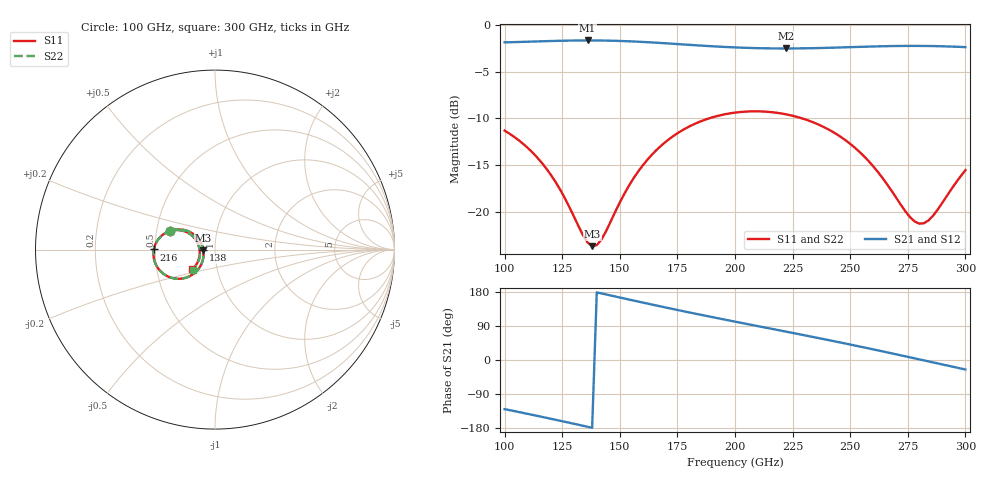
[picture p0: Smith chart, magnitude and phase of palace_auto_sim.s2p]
#  GHZ S DB R 50
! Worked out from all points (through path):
!   101 points, 100 GHz to 300 GHz, reference 50 ohm
!   highest |S21| = -1.66 dB at 136 GHz (marker M1); lowest = -2.5 dB at 222 GHz (marker M2)
!   group delay of S21, straight-line fit = 3.51 ps
!   lowest |S11| = -23.7 dB at 138 GHz (marker M3), VSWR 1.14, Z = 43.9 - j0.344 ohm
!   |S11| at or under -10 dB: start of sweep to 188.9 GHz; 228.9 GHz to end of sweep
!   |S22| runs from -23.7 to -9.3 dB; largest |S21 - S12| = 8.6e-14
!   S11 on the Smith chart (normalised r, x): 100 GHz: 0.59, +0.13; 138 GHz: 0.88, -0.01; 216 GHz: 0.49, +0.00; 300 GHz: 0.76, -0.17
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100  -11.33 157.9  -1.86 -129.7  -1.86 -129.7  -11.32 157.9
110  -13.17 149.4  -1.79 -142.1  -1.79 -142.1  -13.17 149.5
118  -15.36 144.9  -1.73 -152.4  -1.73 -152.4  -15.35 145.0
126  -18.50 145.8  -1.69 -162.8  -1.69 -162.8  -18.49 145.9
134  -22.53 163.0  -1.66 -173.5  -1.66 -173.5  -22.51 163.2
136  -23.32 172.3  -1.66 -176.2  -1.66 -176.2  -23.29 172.4
138  -23.72 -176.6  -1.66 -178.9  -1.66 -178.9  -23.70 -176.5
142  -23.02 -154.5  -1.67 175.7  -1.67 175.7  -23.01 -154.4
152  -18.09 -131.4  -1.73 162.3  -1.73 162.3  -18.08 -131.3
160  -15.04 -131.3  -1.82 151.6  -1.82 151.6  -15.04 -131.2
168  -12.93 -136.0  -1.93 141.1  -1.93 141.1  -12.93 -136.0
184  -10.44 -149.9  -2.19 120.7  -2.19 120.7  -10.44 -149.8
200  -9.40 -165.1  -2.40 101.2  -2.40 101.2  -9.40 -165.0
216  -9.35 179.8  -2.51 82.2  -2.51 82.2  -9.35 179.9
222  -9.57 174.3  -2.52 75.0  -2.52 75.0  -9.57 174.4
234  -10.44 163.7  -2.49 60.6  -2.49 60.6  -10.45 163.7
252  -13.15 150.7  -2.36 38.3  -2.36 38.3  -13.18 150.6
268  -17.80 151.3  -2.26 17.6  -2.26 17.6  -17.88 151.1
276  -20.61 167.4  -2.24 7.0  -2.24 7.0  -20.78 167.3
282  -21.26 -170.2  -2.25 -1.0  -2.25 -1.0  -21.44 -169.6
286  -20.44 -156.2  -2.26 -6.4  -2.26 -6.4  -20.59 -155.3
300  -15.57 -138.9  -2.37 -25.0  -2.37 -25.0  -15.61 -137.9
